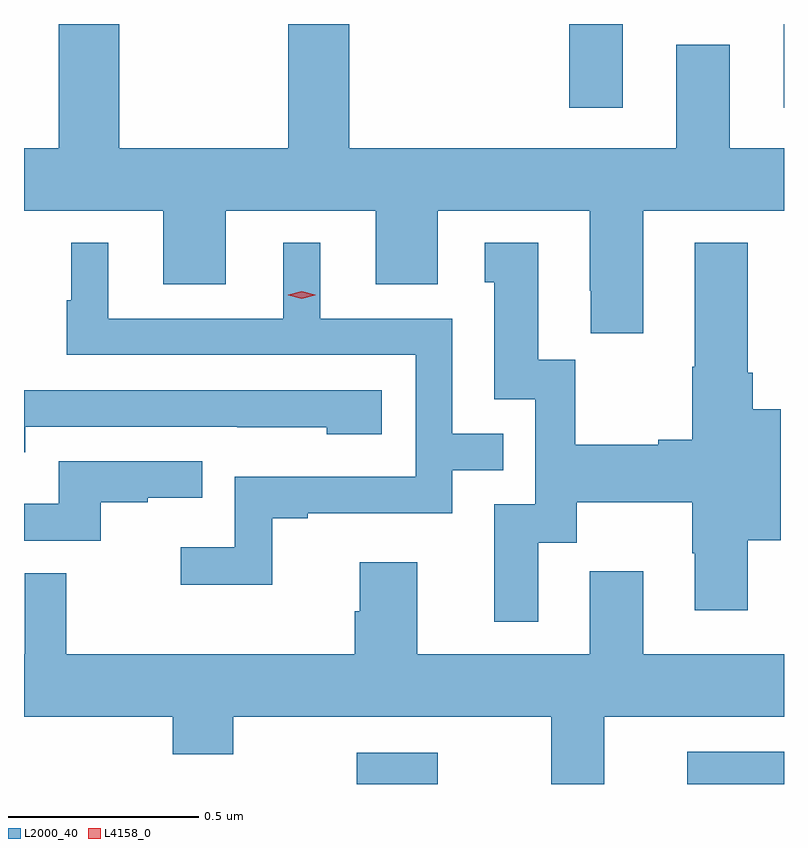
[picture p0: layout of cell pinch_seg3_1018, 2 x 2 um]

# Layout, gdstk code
import gdstk
lib = gdstk.Library(unit=1e-6, precision=1e-09)
def R(c, l, rs):  # rectangles x0, y0, x1, y1
    for r in rs: c.add(gdstk.rectangle(r[:2], r[2:], *l))
def P(c, l, *ps):  # polygons
    for p in ps: c.add(gdstk.Polygon(p, *l))
L2000_40 = (2000, 40)
L4158_0 = (4158, 0)

pinch_seg3_1018 = lib.new_cell('pinch_seg3_1018')
R(pinch_seg3_1018, L2000_40, [(406.365,667.439,406.579,667.521), (407.235,667.439,407.49,667.524), (406.925,669.219,407.065,669.439), (407.489,669.219,407.49,669.439)])
P(pinch_seg3_1018, L2000_40, [(407.119,668.948),(407.49,668.948),(407.49,669.112),(407.347,669.112),(407.347,669.385),(407.207,669.385),(407.207,669.112),(406.346,669.112),(406.346,669.439),(406.186,669.439),(406.186,669.112),(405.741,669.112),(405.741,669.439),(405.581,669.439),(405.581,669.112),(405.49,669.112),(405.49,668.948),(405.857,668.948),(405.857,668.754),(406.021,668.754),(406.021,668.948),(406.415,668.948),(406.415,668.754),(406.579,668.754),(406.579,668.948),(406.979,668.948),(406.979,668.737),(406.982,668.737),(406.982,668.625),(407.119,668.625)],
  [(406.143,668.139),(406.237,668.139),(406.237,668.151),(406.617,668.151),(406.617,668.265),(406.751,668.265),(406.751,668.361),(406.617,668.361),(406.617,668.664),(406.27,668.664),(406.27,668.863),(406.172,668.863),(406.172,668.664),(405.712,668.664),(405.712,668.863),(405.614,668.863),(405.614,668.712),(405.603,668.712),(405.603,668.568),(406.521,668.568),(406.521,668.247),(406.044,668.247),(406.044,668.062),(405.903,668.062),(405.903,667.964),(406.143,667.964)],
  [(406.843,668.074),(406.945,668.074),(406.945,668.18),(407.248,668.18),(407.248,668.046),(407.255,668.046),(407.255,667.896),(407.395,667.896),(407.395,668.081),(407.482,668.081),(407.482,668.425),(407.408,668.425),(407.408,668.521),(407.395,668.521),(407.395,668.863),(407.255,668.863),(407.255,668.537),(407.248,668.537),(407.248,668.345),(407.159,668.345),(407.159,668.332),(406.941,668.332),(406.941,668.555),(406.843,668.555),(406.843,668.863),(406.703,668.863),(406.703,668.76),(406.727,668.76),(406.727,668.451),(406.836,668.451),(406.836,668.175),(406.727,668.175),(406.727,667.866),(406.843,667.866)],
  [(405.493,668.379),(406.051,668.379),(406.051,668.378),(406.287,668.378),(406.287,668.36),(406.432,668.36),(406.432,668.475),(405.49,668.475),(405.49,668.312),(405.493,668.312)],
  [(405.692,668.181),(405.815,668.181),(405.815,668.192),(405.959,668.192),(405.959,668.289),(405.582,668.289),(405.582,668.177),(405.49,668.177),(405.49,668.079),(405.692,668.079)],
  [(407.017,667.616),(407.49,667.616),(407.49,667.78),(407.119,667.78),(407.119,667.999),(406.979,667.999),(406.979,667.78),(406.525,667.78),(406.525,668.023),(406.373,668.023),(406.373,667.893),(406.361,667.893),(406.361,667.78),(405.601,667.78),(405.601,667.994),(405.492,667.994),(405.492,667.78),(405.49,667.78),(405.49,667.616),(405.881,667.616),(405.881,667.517),(406.041,667.517),(406.041,667.616),(406.877,667.616),(406.877,667.439),(407.017,667.439)])
P(pinch_seg3_1018, L4158_0, [(406.221,668.716),(406.186,668.725),(406.185,668.726),(406.186,668.726),(406.221,668.736),(406.256,668.726),(406.257,668.726),(406.256,668.725)])

lib.write_gds('pinch_seg3_1018.gds')
